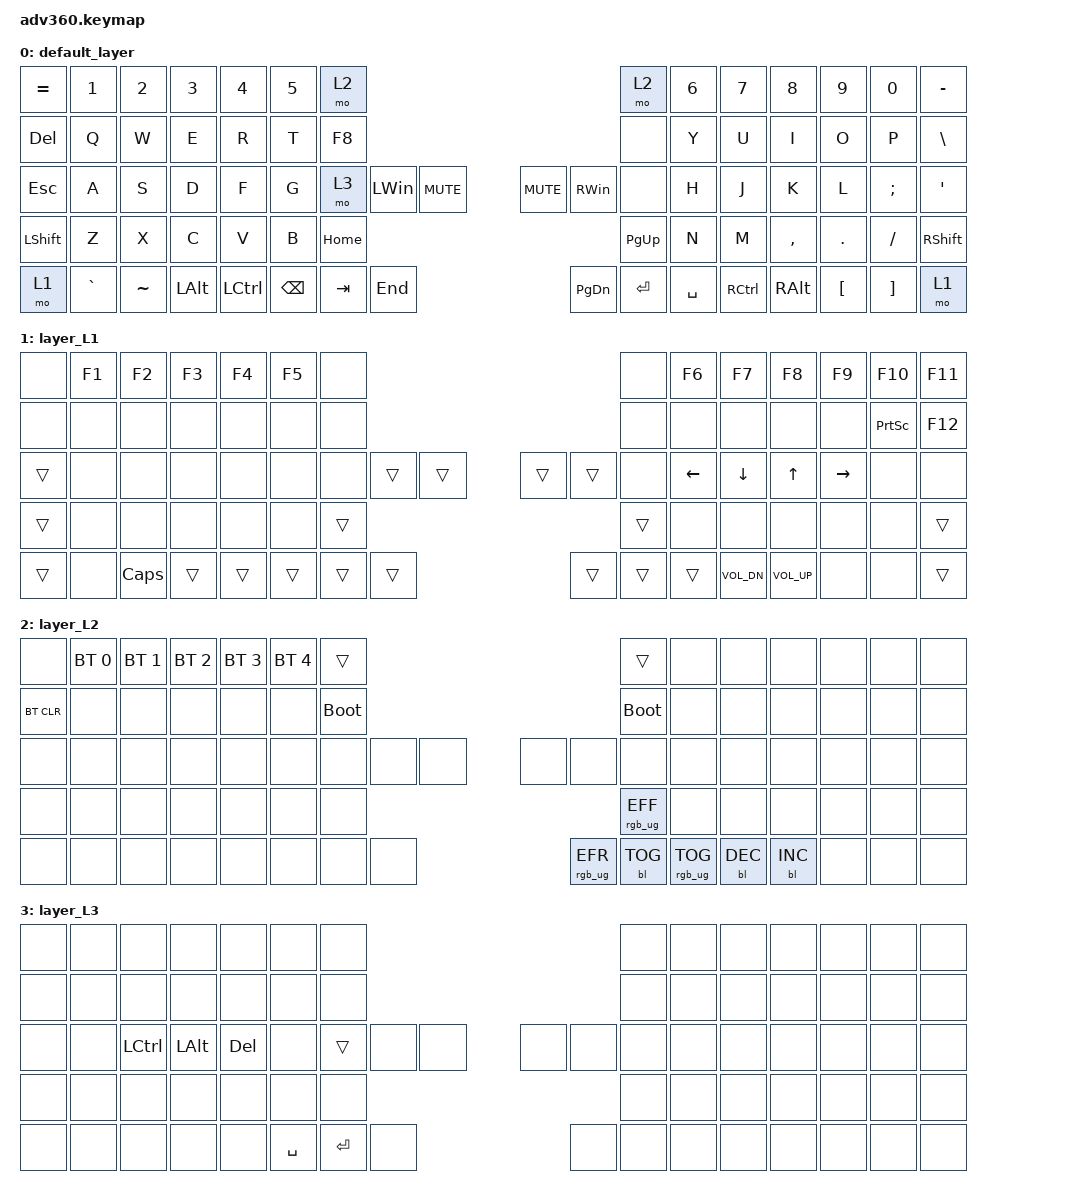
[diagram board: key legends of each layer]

/*
 * Copyright (c) 2020 The ZMK Contributors
 *
 * SPDX-License-Identifier: MIT
 */


/* THIS FILE WAS GENERATED!
 *
 * This file was generated automatically. You may or may not want to
 * edit it directly.
 */

#include <behaviors.dtsi>
#include <dt-bindings/zmk/keys.h>
#include <dt-bindings/zmk/bt.h>
#include <dt-bindings/zmk/rgb.h>
#include <dt-bindings/zmk/backlight.h>

/ {
  behaviors {
    #include "macros.dtsi"
    #include "version.dtsi"

    hm: homerow_mods {
        compatible = "zmk,behavior-hold-tap";
        label = "HOMEROW_MODS";
        #binding-cells = <2>;
        tapping-term-ms = <200>;
        quick_tap_ms = <175>;
        flavor = "tap-preferred";
        bindings = <&kp>, <&kp>;
    };
  };

    keymap {
        compatible = "zmk,keymap";


        default_layer {
            bindings = <
 &kp EQUAL     &kp N1     &kp N2        &kp N3     &kp N4  &kp N5               &mo 2                                                                           &mo 2  &kp N6     &kp N7         &kp N8    &kp N9    &kp N0  &kp MINUS
   &kp DEL      &kp Q      &kp W         &kp E      &kp R   &kp T              &kp F8                                                                           &none   &kp Y      &kp U          &kp I     &kp O     &kp P   &kp BSLH
   &kp ESC      &kp A      &kp S         &kp D      &kp F   &kp G               &mo 3  &kp LEFT_WIN  &kp C_MUTE                  &kp C_MUTE  &kp RIGHT_WIN      &none   &kp H      &kp J          &kp K     &kp L  &kp SEMI    &kp SQT
 &kp LSHFT      &kp Z      &kp X         &kp C      &kp V   &kp B                                      &kp HOME                   &kp PG_UP                             &kp N      &kp M      &kp COMMA   &kp DOT  &kp FSLH  &kp RSHFT
     &mo 1  &kp GRAVE  &kp TILDE  &kp LEFT_ALT  &kp LCTRL                    &kp BSPC       &kp TAB     &kp END                   &kp PG_DN      &kp ENTER  &kp SPACE          &kp RCTRL  &kp RIGHT_ALT  &kp LBKT  &kp RBKT      &mo 1
            >;
        };

        layer_L1 {
            bindings = <
  &none  &kp F1    &kp F2  &kp F3  &kp F4  &kp F5             &none                                                   &none    &kp F6        &kp F7        &kp F8     &kp F9    &kp F10  &kp F11
  &none   &none     &none   &none   &none   &none             &none                                                   &none     &none         &none         &none      &none  &kp PSCRN  &kp F12
 &trans   &none     &none   &none   &none   &none             &none  &trans  &trans                  &trans  &trans   &none  &kp LEFT      &kp DOWN        &kp UP  &kp RIGHT      &none    &none
 &trans   &none     &none   &none   &none   &none                            &trans                  &trans                     &none         &none         &none      &none      &none   &trans
 &trans   &none  &kp CAPS  &trans  &trans                    &trans  &trans  &trans                  &trans  &trans  &trans            &kp C_VOL_DN  &kp C_VOL_UP      &none      &none   &trans
            >;
        };

        layer_L2 {
            bindings = <
      &none  &bt BT_SEL 0  &bt BT_SEL 1  &bt BT_SEL 2  &bt BT_SEL 3  &bt BT_SEL 4                 &trans                                                                        &trans   &none       &none       &none   &none   &none   &none
 &bt BT_CLR         &none         &none         &none         &none         &none            &bootloader                                                                   &bootloader   &none       &none       &none   &none   &none   &none
      &none         &none         &none         &none         &none         &none                  &none   &none   &none                            &none       &none            &none   &none       &none       &none   &none   &none   &none
      &none         &none         &none         &none         &none         &none                                  &none                  &rgb_ug RGB_EFF                                &none       &none       &none   &none   &none   &none
      &none         &none         &none         &none         &none                                &none   &none   &none                  &rgb_ug RGB_EFR  &bl BL_TOG  &rgb_ug RGB_TOG          &bl BL_DEC  &bl BL_INC   &none   &none   &none
            >;
        };

        layer_L3 {
            bindings = <
  &none   &none      &none         &none    &none   &none                &none                                                      &none   &none   &none   &none   &none   &none   &none
  &none   &none      &none         &none    &none   &none                &none                                                      &none   &none   &none   &none   &none   &none   &none
  &none   &none  &kp LCTRL  &kp LEFT_ALT  &kp DEL   &none               &trans      &none   &none                   &none   &none   &none   &none   &none   &none   &none   &none   &none
  &none   &none      &none         &none    &none   &none                                   &none                   &none                   &none   &none   &none   &none   &none   &none
  &none   &none      &none         &none    &none                    &kp SPACE  &kp ENTER   &none                   &none   &none   &none           &none   &none   &none   &none   &none
            >;
        };

    };
};
